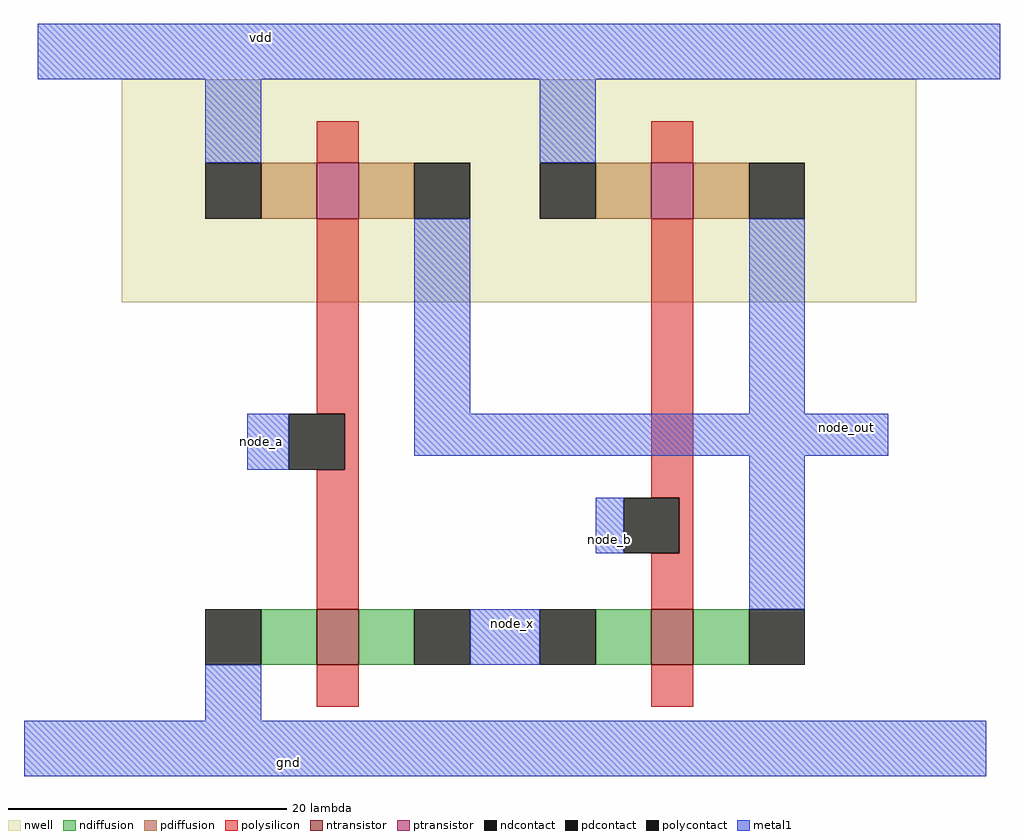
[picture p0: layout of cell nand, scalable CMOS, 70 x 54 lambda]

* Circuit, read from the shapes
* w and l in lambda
.subckt nand gnd node_a node_b node_out node_x vdd
M1 node_x node_a gnd VSUBS nfet w=4 l=3
M2 node_out node_b node_x VSUBS nfet w=4 l=3
M3 node_out node_a vdd n1 pfet w=4 l=3
M4 node_out node_b vdd n1 pfet w=4 l=3
.ends

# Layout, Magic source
magic
tech scmos
<< nwell >>
rect 415 416 472 432
<< ntransistor >>
rect 429 390 432 394
rect 453 390 456 394
<< ptransistor >>
rect 429 422 432 426
rect 453 422 456 426
<< ndiffusion >>
rect 425 390 429 394
rect 432 390 436 394
rect 449 390 453 394
rect 456 390 460 394
<< pdiffusion >>
rect 425 422 429 426
rect 432 422 436 426
rect 449 422 453 426
rect 456 422 460 426
<< ndcontact >>
rect 421 390 425 394
rect 436 390 440 394
rect 445 390 449 394
rect 460 390 464 394
<< pdcontact >>
rect 421 422 425 426
rect 436 422 440 426
rect 445 422 449 426
rect 460 422 464 426
<< polysilicon >>
rect 429 426 432 429
rect 453 426 456 429
rect 429 408 432 422
rect 431 404 432 408
rect 429 394 432 404
rect 453 402 456 422
rect 455 398 456 402
rect 453 394 456 398
rect 429 387 432 390
rect 453 387 456 390
<< polycontact >>
rect 427 404 431 408
rect 451 398 455 402
<< metal1 >>
rect 409 432 478 436
rect 421 426 425 432
rect 445 426 449 432
rect 436 408 440 422
rect 460 408 464 422
rect 424 404 427 408
rect 436 405 470 408
rect 449 398 451 402
rect 460 394 464 405
rect 440 390 445 394
rect 421 386 425 390
rect 408 382 477 386
<< labels >>
rlabel metal1 467 407 467 407 1 node_out
rlabel metal1 425 435 425 435 5 vdd
rlabel metal1 427 383 427 383 1 gnd
rlabel metal1 443 393 443 393 1 node_x
rlabel metal1 425 406 425 406 1 node_a
rlabel metal1 450 399 450 399 1 node_b
<< end >>
